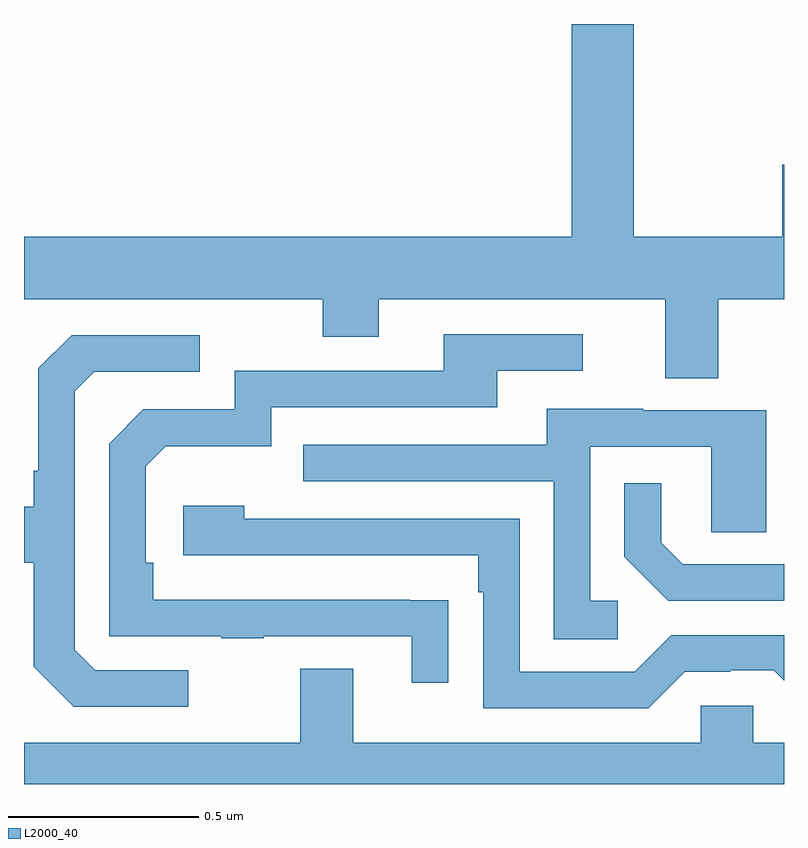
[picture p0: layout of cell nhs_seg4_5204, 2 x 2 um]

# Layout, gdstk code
import gdstk
lib = gdstk.Library(unit=1e-6, precision=1e-09)
def P(c, l, *ps):  # polygons
    for p in ps: c.add(gdstk.Polygon(p, *l))
L2000_40 = (2000, 40)

nhs_seg4_5204 = lib.new_cell('nhs_seg4_5204')
P(nhs_seg4_5204, L2000_40, [(177,774.529),(176.996,774.529),(176.996,774.34),(176.605,774.34),(176.605,774.9),(176.441,774.9),(176.441,774.34),(175,774.34),(175,774.176),(175.786,774.176),(175.786,774.077),(175.933,774.077),(175.933,774.176),(176.687,774.176),(176.687,773.968),(176.827,773.968),(176.827,774.176),(177,774.176)],
  [(176.117,773.384),(176.015,773.384),(176.015,773.385),(175.34,773.385),(175.34,773.482),(175.32,773.482),(175.32,773.736),(175.373,773.789),(175.65,773.789),(175.65,773.892),(176.245,773.892),(176.245,773.988),(176.47,773.988),(176.47,774.084),(176.105,774.084),(176.105,773.988),(175.554,773.988),(175.554,773.886),(175.314,773.886),(175.224,773.796),(175.224,773.289),(175.519,773.289),(175.519,773.284),(175.631,773.284),(175.631,773.289),(176.021,773.289),(176.021,773.166),(176.117,773.166)],
  [(175.432,773.199),(175.188,773.199),(175.134,773.253),(175.134,773.934),(175.185,773.985),(175.462,773.985),(175.462,774.081),(175.125,774.081),(175.038,773.994),(175.038,773.725),(175.026,773.725),(175.026,773.629),(175,773.629),(175,773.482),(175.026,773.482),(175.026,773.209),(175.131,773.103),(175.432,773.103)],
  [(176.563,773.382),(176.49,773.382),(176.49,773.787),(176.808,773.787),(176.808,773.563),(176.953,773.563),(176.953,773.883),(176.629,773.883),(176.629,773.887),(176.375,773.887),(176.375,773.793),(175.735,773.793),(175.735,773.697),(176.394,773.697),(176.394,773.281),(176.563,773.281)],
  [(177,773.478),(176.734,773.478),(176.677,773.535),(176.677,773.692),(176.58,773.692),(176.58,773.498),(176.696,773.382),(177,773.382)],
  [(176.739,773.196),(176.858,773.196),(176.858,773.199),(176.973,773.199),(177,773.172),(177,773.292),(176.703,773.292),(176.607,773.196),(176.304,773.196),(176.304,773.598),(175.58,773.598),(175.58,773.632),(175.419,773.632),(175.419,773.502),(176.195,773.502),(176.195,773.405),(176.208,773.405),(176.208,773.1),(176.643,773.1)],
  [(177,773.008),(176.919,773.008),(176.919,773.106),(176.781,773.106),(176.781,773.008),(175.867,773.008),(175.867,773.203),(175.727,773.203),(175.727,773.008),(175,773.008),(175,772.9),(177,772.9)])

lib.write_gds('nhs_seg4_5204.gds')
